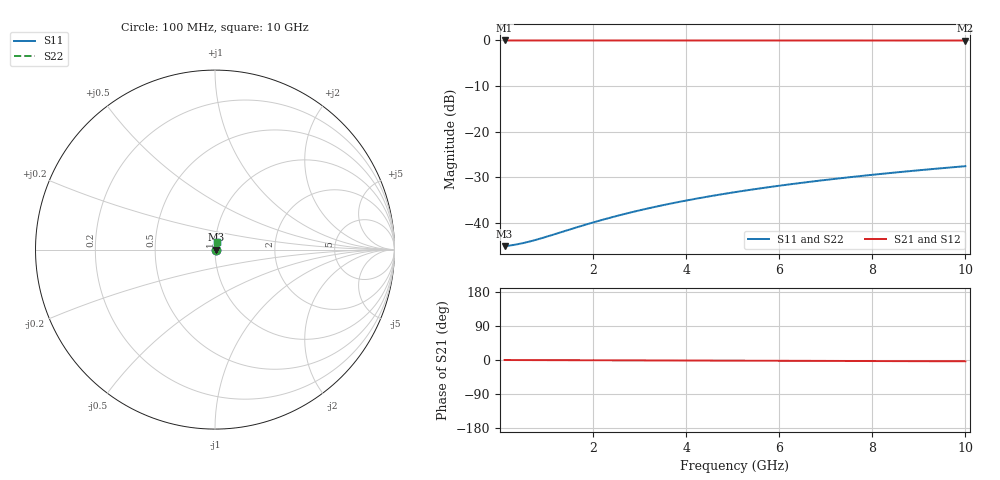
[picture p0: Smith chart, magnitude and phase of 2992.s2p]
# Hz S RI R 50.00
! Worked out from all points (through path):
!   100 points, 100 MHz to 10 GHz, reference 50 ohm
!   highest |S21| = -0.05 dB at 100 MHz (marker M1); lowest = -0.1 dB at 10 GHz (marker M2)
!   lowest |S11| = -45.1 dB at 100 MHz (marker M3), VSWR 1.01, Z = 50.6 + j0.0415 ohm
!   |S11| at or under -10 dB: start of sweep to end of sweep
!   |S22| runs from -45.1 to -27.6 dB; largest |S21 - S12| = 0
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1e8  0.00554 0.00041  0.9945 -0.000599  0.9945 -0.000599  0.00554 0.00041
3e8  0.0056 0.00123  0.9944 -0.0018  0.9944 -0.0018  0.0056 0.00123
4e8  0.00563 0.00164  0.9944 -0.0024  0.9944 -0.0024  0.00563 0.00164
5e8  0.00565 0.00205  0.9944 -0.003  0.9944 -0.003  0.00565 0.00205
7e8  0.00568 0.00287  0.9943 -0.00419  0.9943 -0.00419  0.00568 0.00287
1e9  0.00573 0.0041  0.9943 -0.00599  0.9943 -0.00599  0.00573 0.0041
1.8e9  0.00586 0.00738  0.9941 -0.0108  0.9941 -0.0108  0.00586 0.00738
2.2e9  0.00592 0.00901  0.9941 -0.0132  0.9941 -0.0132  0.00592 0.00901
2.6e9  0.00599 0.0107  0.994 -0.0156  0.994 -0.0156  0.00599 0.0107
3e9  0.00607 0.0123  0.9939 -0.018  0.9939 -0.018  0.00607 0.0123
3.4e9  0.00615 0.0139  0.9938 -0.0204  0.9938 -0.0204  0.00615 0.0139
3.8e9  0.00624 0.0156  0.9937 -0.0228  0.9937 -0.0228  0.00624 0.0156
4.2e9  0.00634 0.0172  0.9936 -0.0251  0.9936 -0.0251  0.00634 0.0172
4.6e9  0.00644 0.0188  0.9935 -0.0275  0.9935 -0.0275  0.00644 0.0188
5.1e9  0.00658 0.0209  0.9934 -0.0305  0.9934 -0.0305  0.00658 0.0209
5.5e9  0.0067 0.0225  0.9932 -0.0329  0.9932 -0.0329  0.0067 0.0225
5.9e9  0.00683 0.0241  0.9931 -0.0353  0.9931 -0.0353  0.00683 0.0241
6.7e9  0.0071 0.0274  0.9928 -0.0401  0.9928 -0.0401  0.0071 0.0274
7.5e9  0.00741 0.0307  0.9925 -0.0449  0.9925 -0.0449  0.00741 0.0307
8.4e9  0.00779 0.0343  0.9921 -0.0502  0.9921 -0.0502  0.00779 0.0343
9.2e9  0.00816 0.0376  0.9917 -0.055  0.9917 -0.055  0.00816 0.0376
1e10  0.00857 0.0408  0.9912 -0.0598  0.9912 -0.0598  0.00857 0.0408
